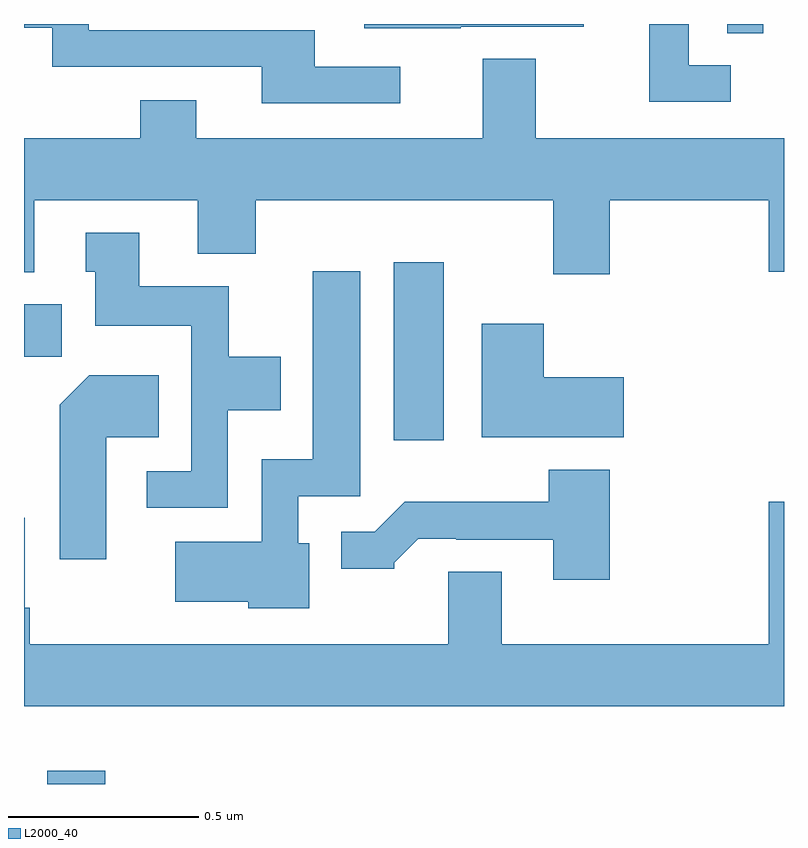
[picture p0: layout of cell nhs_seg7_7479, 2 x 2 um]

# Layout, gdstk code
import gdstk
lib = gdstk.Library(unit=1e-6, precision=1e-09)
def R(c, l, rs):  # rectangles x0, y0, x1, y1
    for r in rs: c.add(gdstk.rectangle(r[:2], r[2:], *l))
def P(c, l, *ps):  # polygons
    for p in ps: c.add(gdstk.Polygon(p, *l))
L2000_40 = (2000, 40)

nhs_seg7_7479 = lib.new_cell('nhs_seg7_7479')
R(nhs_seg7_7479, L2000_40, [(211.061,1079,211.214,1079.035), (211.973,1079.904,212.104,1080.373), (211,1080.124,211.099,1080.262), (212.85,1080.976,212.946,1081)])
P(nhs_seg7_7479, L2000_40, [(211.99,1080.888),(211.765,1080.888),(211.765,1080.984),(211.17,1080.984),(211.17,1081),(211,1081),(211,1080.99),(211.074,1080.99),(211.074,1080.888),(211.625,1080.888),(211.625,1080.792),(211.99,1080.792)],
  [(212.86,1080.891),(212.749,1080.891),(212.749,1081),(212.645,1081),(212.645,1080.795),(212.86,1080.795)],
  [(212.149,1080.993),(212.473,1080.993),(212.473,1081),(211.895,1081),(211.895,1080.989),(212.149,1080.989)],
  [(212.541,1080.536),(212.96,1080.536),(212.96,1080.348),(213,1080.348),(213,1080.7),(212.347,1080.7),(212.347,1080.908),(212.207,1080.908),(212.207,1080.7),(211.453,1080.7),(211.453,1080.799),(211.306,1080.799),(211.306,1080.7),(211,1080.7),(211,1080.347),(211.027,1080.347),(211.027,1080.536),(211.457,1080.536),(211.457,1080.395),(211.61,1080.395),(211.61,1080.536),(212.393,1080.536),(212.393,1080.342),(212.541,1080.342)],
  [(211.536,1079.984),(211.675,1079.984),(211.675,1080.124),(211.539,1080.124),(211.539,1080.31),(211.303,1080.31),(211.303,1080.451),(211.163,1080.451),(211.163,1080.348),(211.187,1080.348),(211.187,1080.206),(211.44,1080.206),(211.44,1079.823),(211.323,1079.823),(211.323,1079.727),(211.536,1079.727)],
  [(211.75,1079.634),(211.722,1079.634),(211.722,1079.757),(211.885,1079.757),(211.885,1080.349),(211.76,1080.349),(211.76,1079.854),(211.626,1079.854),(211.626,1079.638),(211.398,1079.638),(211.398,1079.48),(211.59,1079.48),(211.59,1079.462),(211.75,1079.462)],
  [(212.578,1080.07),(212.368,1080.07),(212.368,1080.211),(212.204,1080.211),(212.204,1079.912),(212.578,1079.912)],
  [(211.216,1079.912),(211.355,1079.912),(211.355,1080.076),(211.172,1080.076),(211.094,1079.998),(211.094,1079.592),(211.216,1079.592)],
  [(212.541,1079.827),(212.381,1079.827),(212.381,1079.743),(212.002,1079.743),(211.923,1079.664),(211.835,1079.664),(211.835,1079.567),(211.974,1079.567),(211.974,1079.582),(212.038,1079.646),(212.137,1079.646),(212.137,1079.643),(212.393,1079.643),(212.393,1079.538),(212.541,1079.538)],
  [(213,1079.743),(212.96,1079.743),(212.96,1079.368),(212.257,1079.368),(212.257,1079.558),(212.117,1079.558),(212.117,1079.368),(211.015,1079.368),(211.015,1079.464),(211.002,1079.464),(211.002,1079.701),(211,1079.701),(211,1079.204),(213,1079.204)])

lib.write_gds('nhs_seg7_7479.gds')
